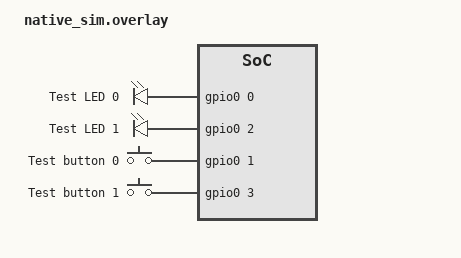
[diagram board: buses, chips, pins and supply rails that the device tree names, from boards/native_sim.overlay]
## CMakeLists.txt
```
cmake_minimum_required(VERSION 3.20.0)

find_package(
  Zephyr
  REQUIRED
  HINTS
  $ENV{ZEPHYR_BASE}
)
project(
  gpio_handlers_test
)

set(BLE_AUDIO_SRC ${CMAKE_CURRENT_SOURCE_DIR}/../../src)

# Real led_handler.c/button_handler.c, run against native_sim's built-in
# zephyr,gpio-emul controller (see boards/native_sim.overlay for the button node
# it doesn't define by default).
target_sources(
  app
  PRIVATE src/main.c
          ${BLE_AUDIO_SRC}/middlewares/led_handler/led_handler.c
          ${BLE_AUDIO_SRC}/middlewares/button_handler/button_handler.c
)

target_include_directories(
  app
  PRIVATE ${BLE_AUDIO_SRC}/middlewares/led_handler
          ${BLE_AUDIO_SRC}/middlewares/button_handler
)
```

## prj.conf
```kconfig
CONFIG_ZTEST=y
CONFIG_GPIO=y

# Shuffle test/suite order and repeat 3x (Kconfig default) - a suite that
# depends on run order or leaks state between iterations should fail here
# even if it passes in a single fixed-order run.
CONFIG_ZTEST_SHUFFLE=y
```

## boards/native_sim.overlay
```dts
/*
 * native_sim already defines gpio0 as a zephyr,gpio-emul controller.
 * led0 (pin 0) is built into native_sim's own .dts; sw0/button0 (pin 1),
 * led1 (pin 2), and sw1/button1 (pin 3) are added here. led0 is also
 * re-stated below (same pin/values as the base .dts) so every LED/button
 * this test suite uses is visible in one place, not split between here
 * and native_sim's own devicetree.
 */

/ {
	aliases {
		/* led0's alias already comes from native_sim's own .dts -
		 * led1 is new here and needs one explicitly, same as sw0/sw1.
		 */
		led1 = &led1;
		sw0 = &button0;
		sw1 = &button1;
	};

	leds {
		led0: led_0 {
			gpios = <&gpio0 0 GPIO_ACTIVE_HIGH>;
			label = "Test LED 0";
		};
		led1: led_1 {
			gpios = <&gpio0 2 GPIO_ACTIVE_HIGH>;
			label = "Test LED 1";
		};
	};

	buttons {
		compatible = "gpio-keys";
		button0: button_0 {
			gpios = <&gpio0 1 GPIO_ACTIVE_HIGH>;
			label = "Test button 0";
		};
		button1: button_1 {
			gpios = <&gpio0 3 GPIO_ACTIVE_HIGH>;
			label = "Test button 1";
		};
	};
};
```

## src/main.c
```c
#include <zephyr/drivers/gpio.h>
#include <zephyr/drivers/gpio/gpio_emul.h>
#include <zephyr/ztest.h>

#include "button_handler.h"
#include "led_handler.h"

#define LED0_ID	    0
#define LED1_ID	    1

#define LED0_PIN    0
#define BUTTON0_PIN 1
#define LED1_PIN    2
#define BUTTON1_PIN 3

static const struct device *gpio_dev = DEVICE_DT_GET(DT_NODELABEL(gpio0));
static int button0_press_count;
static int button1_press_count;

/* Records which button fired, not just that one did - this is what lets
 * test_button0_press_does_not_report_as_button1 below actually catch a
 * button_handler bug that reports the wrong id (a bug two independent
 * "did a callback fire" counters, each only ever driven by their own
 * pin, would never be able to see).
 */
static void on_button_pressed(uint8_t button_id)
{
	if (button_id == 0) {
		button0_press_count++;
	} else if (button_id == 1) {
		button1_press_count++;
	}
}

/* led_handler_init()/button_handler_init() are meant to be called once
 * at startup (that's how app_streamctrl.c uses them) - button_handler_
 * init() in particular registers a GPIO callback on a static struct via
 * gpio_add_callback(), which is not safe to call repeatedly on the same
 * struct without an intervening gpio_remove_callback(). So init happens
 * once here too, in the suite-level setup, not per test.
 */
static void *gpio_handlers_test_setup(void)
{
	zassert_ok(led_handler_init());
	zassert_ok(button_handler_init(on_button_pressed));

	return NULL;
}

static void gpio_handlers_test_before(void *fixture)
{
	ARG_UNUSED(fixture);

	button0_press_count = 0;
	button1_press_count = 0;
	/* Drive both emulated button pins back to their inactive level
	 * between tests, so a leftover "pressed" state from one test can't
	 * cause a spurious edge (or lack of one) in the next.
	 */
	gpio_emul_input_set(gpio_dev, BUTTON0_PIN, 0);
	gpio_emul_input_set(gpio_dev, BUTTON1_PIN, 0);
}

ZTEST(gpio_handlers, test_led0_set_true_drives_pin_active)
{
	zassert_ok(led_handler_set(LED0_ID, true));

	zassert_equal(gpio_emul_output_get(gpio_dev, LED0_PIN), 1);
}

ZTEST(gpio_handlers, test_led0_set_false_drives_pin_inactive)
{
	zassert_ok(led_handler_set(LED0_ID, true));
	zassert_ok(led_handler_set(LED0_ID, false));

	zassert_equal(gpio_emul_output_get(gpio_dev, LED0_PIN), 0);
}

ZTEST(gpio_handlers, test_led1_set_true_drives_pin_active)
{
	zassert_ok(led_handler_set(LED1_ID, true));

	zassert_equal(gpio_emul_output_get(gpio_dev, LED1_PIN), 1);
}

ZTEST(gpio_handlers, test_led1_set_false_drives_pin_inactive)
{
	zassert_ok(led_handler_set(LED1_ID, true));
	zassert_ok(led_handler_set(LED1_ID, false));

	zassert_equal(gpio_emul_output_get(gpio_dev, LED1_PIN), 0);
}

ZTEST(gpio_handlers, test_led_set_out_of_range_id_fails)
{
	zassert_equal(led_handler_set(2, true), -EINVAL);
}

ZTEST(gpio_handlers, test_led0_and_led1_are_independent)
{
	zassert_ok(led_handler_set(LED0_ID, true));
	zassert_ok(led_handler_set(LED1_ID, false));

	zassert_equal(gpio_emul_output_get(gpio_dev, LED0_PIN), 1,
		      "led0 should be unaffected by led1's state");
	zassert_equal(gpio_emul_output_get(gpio_dev, LED1_PIN), 0,
		      "led1 should be unaffected by led0's state");
}

ZTEST(gpio_handlers, test_button0_press_triggers_callback)
{
	gpio_emul_input_set(gpio_dev, BUTTON0_PIN, 1);

	zassert_equal(button0_press_count, 1);
}

ZTEST(gpio_handlers, test_button0_release_does_not_trigger_callback)
{
	gpio_emul_input_set(gpio_dev, BUTTON0_PIN, 1);
	zassert_equal(button0_press_count, 1);

	gpio_emul_input_set(gpio_dev, BUTTON0_PIN, 0);

	zassert_equal(button0_press_count, 1, "release (inactive edge) should not re-trigger");
}

ZTEST(gpio_handlers, test_button1_press_triggers_callback_with_correct_id)
{
	gpio_emul_input_set(gpio_dev, BUTTON1_PIN, 1);

	zassert_equal(button1_press_count, 1);
	zassert_equal(button0_press_count, 0, "button1 firing should not count as button0");
}

/* The case that would actually catch a copy-paste bug in button_handler's
 * CONTAINER_OF/array-indexing logic (see button_handler.c): pressing only
 * button0 and checking button1's counter never moves. Two counters that
 * are each only ever driven by their own pin (like the two tests above)
 * can't tell an id-reporting bug apart from correct behavior - only a
 * cross-check like this one can.
 */
ZTEST(gpio_handlers, test_button0_press_does_not_report_as_button1)
{
	gpio_emul_input_set(gpio_dev, BUTTON0_PIN, 1);

	zassert_equal(button0_press_count, 1);
	zassert_equal(button1_press_count, 0, "button0 firing should not count as button1");
}

ZTEST_SUITE(gpio_handlers, NULL, gpio_handlers_test_setup, gpio_handlers_test_before, NULL, NULL);
```
